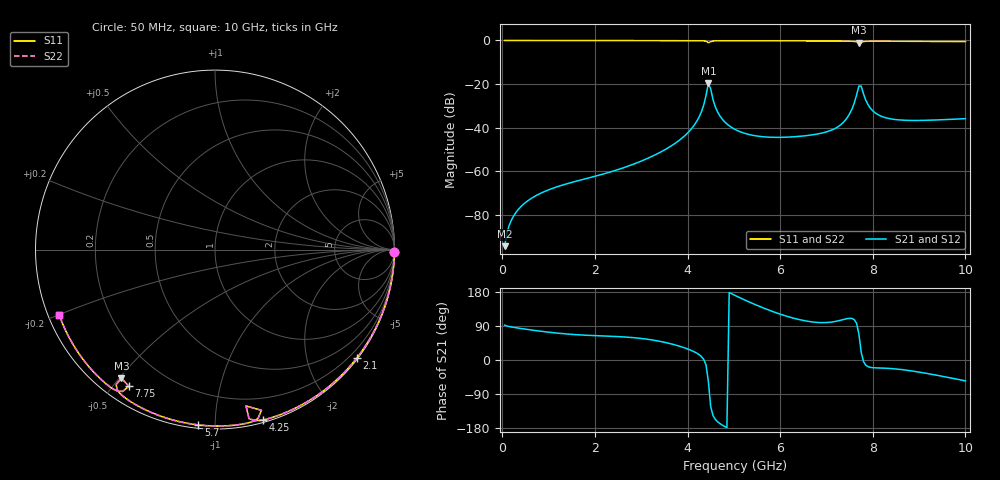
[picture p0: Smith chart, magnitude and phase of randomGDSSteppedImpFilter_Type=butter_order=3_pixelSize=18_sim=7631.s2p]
! freq	dB(S11)	phase(S11)	dB(S12)	phase(S12)
!  dB(S21)	phase(S21)	dB(S22)	phase(S22)
!S-par simulation data
#  GHz  S  DB  R 50
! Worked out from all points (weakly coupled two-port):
!   200 points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, 50 MHz to 10 GHz, reference 50 ohm
!   highest |S21| = -19.65 dB at 4.45 GHz (marker M1); lowest = -94.4 dB at 50 MHz (marker M2)
!   lowest |S11| = -1.1 dB at 7.7 GHz (marker M3), VSWR 16.53, Z = 3.8 - j25.3 ohm
!   |S11| at or under -10 dB: nowhere
!   |S22| runs from -1.1 to 0.0 dB; largest |S21 - S12| = 0
!   S11 on the Smith chart (normalised r, x): 50 MHz: open; 2.1 GHz: 0.03, -2.94; 4.25 GHz: 0.02, -1.32; 5.7 GHz: 0.02, -0.91; 7.75 GHz: 0.07, -0.55; 10 GHz: 0.03, -0.20
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0.05  -0.00 -0.9  -94.39 91.9  -94.39 91.9  -0.00 -0.9
0.25  -0.00 -4.6  -80.34 86.1  -80.34 86.1  -0.00 -4.6
0.85  -0.02 -15.4  -69.89 75.6  -69.89 75.6  -0.02 -15.4
1.75  -0.04 -31.4  -63.71 65.7  -63.71 65.7  -0.04 -31.4
2.1  -0.05 -37.5  -61.75 63.8  -61.75 63.8  -0.05 -37.5
3.4  -0.08 -59.7  -51.42 49.4  -51.42 49.4  -0.08 -59.7
3.95  -0.10 -68.9  -43.53 31.5  -43.53 31.5  -0.10 -68.9
4.25  -0.13 -74.4  -35.11 14.2  -35.11 14.2  -0.13 -74.3
4.35  -0.19 -76.8  -29.59 1.5  -29.59 1.5  -0.19 -76.8
4.45  -1.03 -78.8  -19.65 -56.8  -19.65 -56.8  -1.03 -78.8
4.6  -0.19 -77.1  -30.48 -156.8  -30.48 -156.8  -0.19 -77.1
4.7  -0.15 -79.4  -34.66 -167.9  -34.66 -167.9  -0.15 -79.3
5.05  -0.14 -85.4  -41.08 168.9  -41.08 168.9  -0.14 -85.4
5.7  -0.16 -95.4  -44.30 134.3  -44.30 134.3  -0.16 -95.4
6.7  -0.22 -110.4  -43.29 100.4  -43.29 100.4  -0.22 -110.4
7.4  -0.30 -121.0  -36.76 107.9  -36.76 107.9  -0.30 -121.0
7.55  -0.37 -123.8  -31.53 109.6  -31.53 109.6  -0.37 -123.8
7.7  -1.05 -126.1  -20.89 68.6  -20.89 68.6  -1.05 -126.0
7.75  -0.91 -122.3  -20.96 20.8  -20.96 20.8  -0.91 -122.3
7.95  -0.33 -126.7  -31.11 -19.5  -31.11 -19.5  -0.33 -126.7
8.35  -0.34 -133.2  -35.82 -22.2  -35.82 -22.2  -0.34 -133.2
10  -0.53 -157.1  -35.88 -55.1  -35.88 -55.1  -0.53 -157.1
